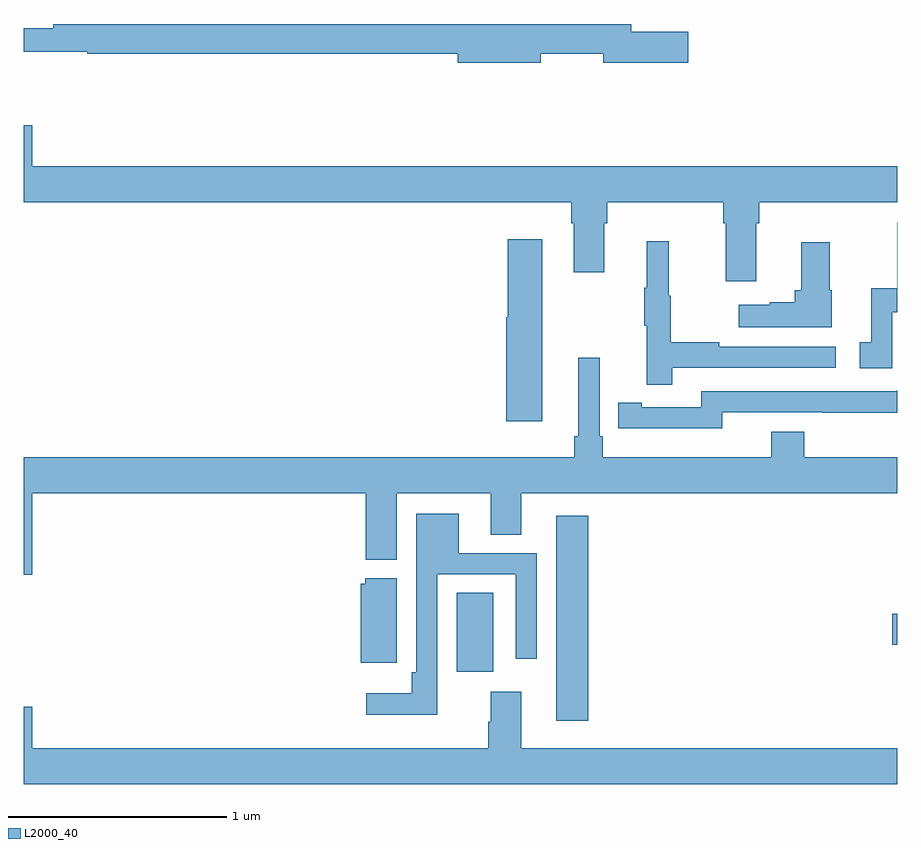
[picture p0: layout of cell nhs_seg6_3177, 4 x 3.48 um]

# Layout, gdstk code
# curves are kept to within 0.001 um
import gdstk
lib = gdstk.Library(unit=1e-6, precision=1e-09)
def R(c, l, rs):  # rectangles x0, y0, x1, y1
    for r in rs: c.add(gdstk.rectangle(r[:2], r[2:], *l))
def P(c, l, *ps):  # polygons
    for p in ps: c.add(gdstk.Polygon(p, *l))
L2000_40 = (2000, 40)

nhs_seg6_3177 = lib.new_cell('nhs_seg6_3177')
R(nhs_seg6_3177, L2000_40, [(299.438,974.265,299.585,975.205), (298.982,974.49,299.149,974.852), (300.978,974.614,301,974.756)])
P(nhs_seg6_3177, L2000_40, [(299.368,977.32),(299.654,977.32),(299.654,977.278),(300.043,977.278),(300.043,977.42),(299.782,977.42),(299.782,977.456),(297.136,977.456),(297.136,977.437),(297,977.437),(297,977.328),(297.292,977.328),(297.292,977.32),(298.988,977.32),(298.988,977.278),(299.368,977.278)],
  [(300.355,976.544),(300.368,976.544),(300.368,976.64),(301,976.64),(301,976.804),(297.04,976.804),(297.04,976.993),(297,976.993),(297,976.64),(299.507,976.64),(299.507,976.544),(299.519,976.544),(299.519,976.32),(299.659,976.32),(299.659,976.544),(299.672,976.544),(299.672,976.64),(300.203,976.64),(300.203,976.544),(300.215,976.544),(300.215,976.278),(300.355,976.278)],
  [(300.978,976.137),(301,976.137),(301,976.548),(300.999,976.548),(300.999,976.246),(300.881,976.246),(300.881,975.999),(300.828,975.999),(300.828,975.879),(300.978,975.879)],
  [(299.374,976.471),(299.216,976.471),(299.216,976.113),(299.21,976.113),(299.21,975.636),(299.374,975.636)],
  [(299.969,975.882),(300.718,975.882),(300.718,975.978),(300.185,975.978),(300.185,975.998),(299.962,975.998),(299.962,976.212),(299.954,976.212),(299.954,976.462),(299.852,976.462),(299.852,976.249),(299.841,976.249),(299.841,976.075),(299.852,976.075),(299.852,975.804),(299.969,975.804)],
  [(300.7,976.236),(300.69,976.236),(300.69,976.456),(300.56,976.456),(300.56,976.236),(300.53,976.236),(300.53,976.181),(300.416,976.181),(300.416,976.171),(300.273,976.171),(300.273,976.067),(300.7,976.067)],
  [(297.04,975.308),(298.565,975.308),(298.565,975.002),(298.708,975.002),(298.708,975.308),(299.138,975.308),(299.138,975.118),(299.278,975.118),(299.278,975.308),(301,975.308),(301,975.472),(300.575,975.472),(300.575,975.589),(300.422,975.589),(300.422,975.472),(299.651,975.472),(299.651,975.568),(299.637,975.568),(299.637,975.928),(299.54,975.928),(299.54,975.568),(299.521,975.568),(299.521,975.472),(297,975.472),(297,974.934),(297.04,974.934)],
  [(300.198,975.678),(301,975.677),(301,975.778),(300.996,975.774),(300.102,975.774),(300.102,975.702),(299.83,975.702),(299.83,975.722),(299.722,975.722),(299.722,975.606),(300.198,975.605)],
  [(298.893,974.937),(299.253,974.937),(299.253,974.55),(299.349,974.55),(299.349,975.033),(298.993,975.033),(298.993,975.214),(298.797,975.214),(298.797,974.488),(298.777,974.488),(298.777,974.392),(298.569,974.392),(298.569,974.294),(298.893,974.294)],
  [(298.708,974.917),(298.563,974.917),(298.563,974.892),(298.544,974.892),(298.544,974.531),(298.708,974.531)],
  [(301,974.14),(299.278,974.14),(299.278,974.398),(299.138,974.398),(299.138,974.261),(299.126,974.261),(299.126,974.14),(297.04,974.14),(297.04,974.329),(297,974.329),(297,973.976),(301,973.976)])

lib.write_gds('nhs_seg6_3177.gds')
